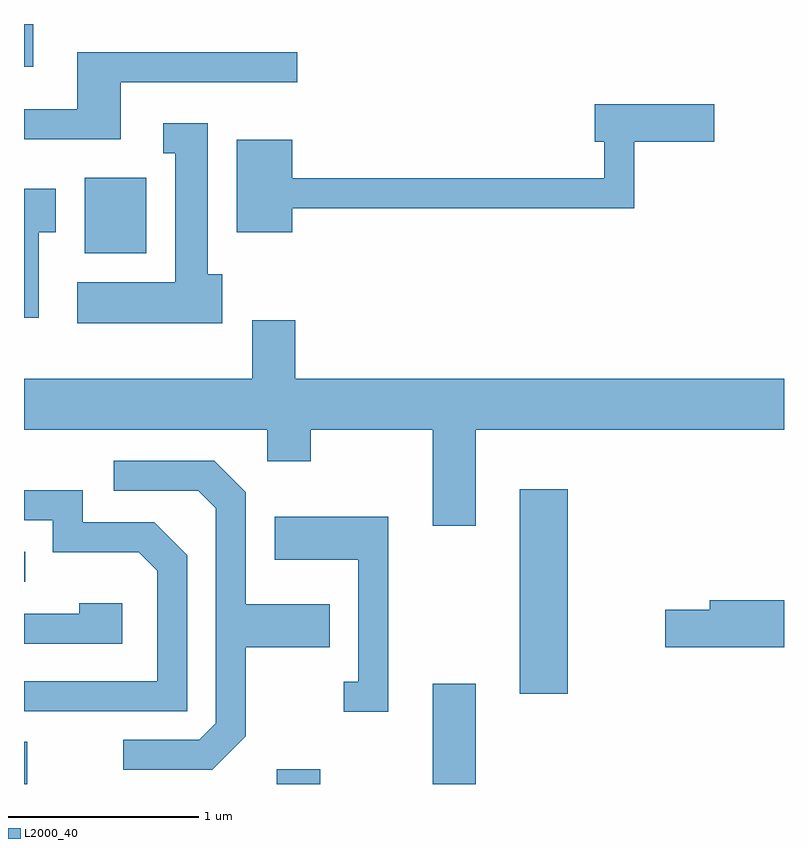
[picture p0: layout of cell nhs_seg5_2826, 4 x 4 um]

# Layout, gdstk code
import gdstk
lib = gdstk.Library(unit=1e-6, precision=1e-09)
def R(c, l, rs):  # rectangles x0, y0, x1, y1
    for r in rs: c.add(gdstk.rectangle(r[:2], r[2:], *l))
def P(c, l, *ps):  # polygons
    for p in ps: c.add(gdstk.Polygon(p, *l))
L2000_40 = (2000, 40)

nhs_seg5_2826 = lib.new_cell('nhs_seg5_2826')
R(nhs_seg5_2826, L2000_40, [(269.611,1426.072,269.629,1426.294), (270.941,1426.072,271.169,1426.149), (271.761,1426.072,271.989,1426.599), (272.221,1426.546,272.474,1427.624), (269.611,1427.136,269.618,1427.294), (269.931,1428.866,270.254,1429.264), (269.611,1429.846,269.659,1430.072)])
P(nhs_seg5_2826, L2000_40, [(270.119,1429.766),(271.048,1429.766),(271.048,1429.924),(269.891,1429.924),(269.891,1429.624),(269.611,1429.624),(269.611,1429.466),(270.119,1429.466)],
  [(271.024,1429.101),(272.824,1429.101),(272.824,1429.451),(273.244,1429.451),(273.244,1429.649),(272.616,1429.649),(272.616,1429.451),(272.666,1429.451),(272.666,1429.259),(271.024,1429.259),(271.024,1429.464),(270.731,1429.464),(270.731,1428.976),(271.024,1428.976)],
  [(270.654,1428.754),(270.579,1428.754),(270.579,1429.549),(270.343,1429.549),(270.343,1429.391),(270.406,1429.391),(270.406,1428.714),(269.891,1428.714),(269.891,1428.496),(270.654,1428.496)],
  [(269.689,1428.976),(269.779,1428.976),(269.779,1429.204),(269.611,1429.204),(269.611,1428.526),(269.689,1428.526)],
  [(271.989,1427.936),(273.611,1427.936),(273.611,1428.204),(271.039,1428.204),(271.039,1428.514),(270.811,1428.514),(270.811,1428.204),(269.611,1428.204),(269.611,1427.936),(270.891,1427.936),(270.891,1427.771),(271.119,1427.771),(271.119,1427.936),(271.761,1427.936),(271.761,1427.431),(271.989,1427.431)],
  [(270.779,1426.324),(270.779,1426.791),(271.219,1426.791),(271.219,1427.019),(270.779,1427.019),(270.779,1427.607),(270.612,1427.774),(270.083,1427.774),(270.083,1427.616),(270.529,1427.616),(270.621,1427.524),(270.621,1426.392),(270.534,1426.304),(270.133,1426.304),(270.133,1426.146),(270.602,1426.146)],
  [(270.469,1427.277),(270.297,1427.449),(269.919,1427.449),(269.919,1427.619),(269.611,1427.619),(269.611,1427.461),(269.761,1427.461),(269.761,1427.291),(270.214,1427.291),(270.311,1427.194),(270.311,1426.614),(269.611,1426.614),(269.611,1426.456),(270.469,1426.456)],
  [(271.529,1427.479),(270.931,1427.479),(270.931,1427.251),(271.371,1427.251),(271.371,1426.609),(271.293,1426.609),(271.293,1426.451),(271.529,1426.451)],
  [(273.611,1427.039),(273.221,1427.039),(273.221,1426.989),(272.986,1426.989),(272.986,1426.791),(273.611,1426.791)],
  [(270.129,1427.024),(269.901,1427.024),(269.901,1426.969),(269.611,1426.969),(269.611,1426.811),(270.129,1426.811)])

lib.write_gds('nhs_seg5_2826.gds')
